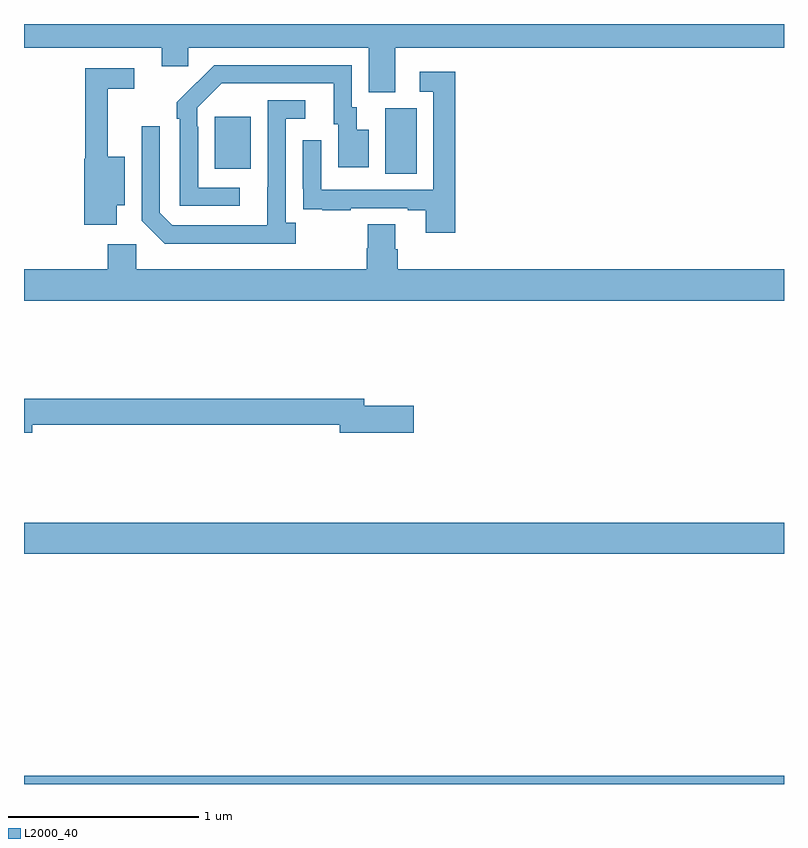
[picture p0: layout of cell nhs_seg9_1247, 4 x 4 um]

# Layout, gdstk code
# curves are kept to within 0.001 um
import gdstk
lib = gdstk.Library(unit=1e-6, precision=1e-09)
def R(c, l, rs):  # rectangles x0, y0, x1, y1
    for r in rs: c.add(gdstk.rectangle(r[:2], r[2:], *l))
def P(c, l, *ps):  # polygons
    for p in ps: c.add(gdstk.Polygon(p, *l))
L2000_40 = (2000, 40)

nhs_seg9_1247 = lib.new_cell('nhs_seg9_1247')
R(nhs_seg9_1247, L2000_40, [(179,1236.5,183,1236.544), (179,1237.712,183,1237.876), (180.902,1239.712,181.066,1240.056), (180.005,1239.737,180.193,1240.012)])
P(nhs_seg9_1247, L2000_40, [(180.955,1240.376),(183,1240.376),(183,1240.5),(179,1240.5),(179,1240.376),(179.726,1240.376),(179.726,1240.278),(179.865,1240.278),(179.865,1240.376),(180.815,1240.376),(180.815,1240.141),(180.955,1240.141)],
  [(180.136,1239.639),(179.916,1239.639),(179.916,1239.959),(179.913,1239.959),(179.913,1240.059),(180.042,1240.188),(180.629,1240.188),(180.629,1239.972),(180.653,1239.972),(180.653,1239.747),(180.814,1239.747),(180.814,1239.943),(180.751,1239.943),(180.751,1240.062),(180.726,1240.062),(180.726,1240.284),(180.002,1240.284),(179.805,1240.089),(179.805,1240.001),(179.82,1240.001),(179.82,1239.543),(180.136,1239.543)],
  [(179.488,1239.545),(179.53,1239.545),(179.53,1239.802),(179.441,1239.802),(179.441,1240.158),(179.581,1240.158),(179.581,1240.266),(179.323,1240.266),(179.323,1239.792),(179.318,1239.792),(179.318,1239.444),(179.488,1239.444)],
  [(181.271,1240.249),(181.083,1240.249),(181.083,1240.143),(181.155,1240.143),(181.155,1239.627),(180.564,1239.627),(180.564,1239.889),(180.468,1239.889),(180.468,1239.634),(180.469,1239.634),(180.469,1239.525),(180.571,1239.525),(180.571,1239.519),(180.719,1239.519),(180.719,1239.531),(181.019,1239.531),(181.019,1239.519),(181.115,1239.519),(181.115,1239.402),(181.271,1239.402)],
  [(180.43,1239.454),(180.378,1239.454),(180.378,1240.002),(180.481,1240.002),(180.481,1240.098),(180.282,1240.098),(180.281,1239.441),(179.781,1239.441),(179.715,1239.507),(179.715,1239.961),(179.619,1239.961),(179.619,1239.465),(179.74,1239.344),(180.43,1239.344)],
  [(183,1239.208),(180.968,1239.208),(180.968,1239.314),(180.955,1239.314),(180.955,1239.446),(180.808,1239.446),(180.808,1239.321),(180.803,1239.321),(180.803,1239.208),(179.592,1239.208),(179.592,1239.34),(179.441,1239.34),(179.441,1239.208),(179,1239.208),(179,1239.044),(183,1239.044)],
  [(179.044,1238.392),(180.662,1238.392),(180.662,1238.35),(181.051,1238.35),(181.051,1238.492),(180.79,1238.492),(180.79,1238.528),(179,1238.528),(179,1238.35),(179.044,1238.35)])

lib.write_gds('nhs_seg9_1247.gds')
